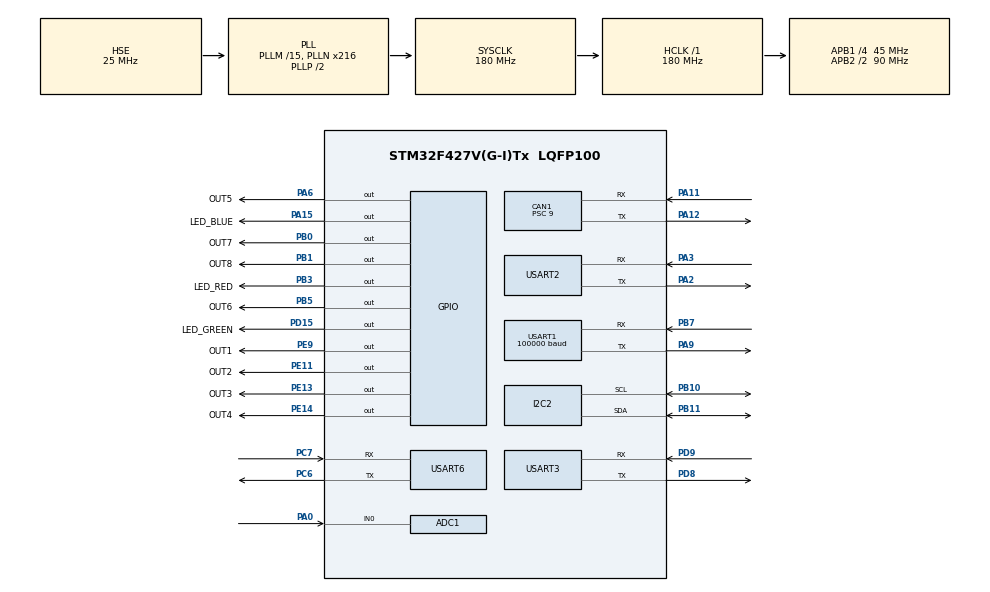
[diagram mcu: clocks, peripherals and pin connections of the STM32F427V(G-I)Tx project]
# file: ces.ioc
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ADC1.Channel-0\#ChannelRegularConversion=ADC_CHANNEL_0
ADC1.ContinuousConvMode=ENABLE
ADC1.DMAContinuousRequests=ENABLE
ADC1.NbrOfConversionFlag=1
ADC1.Rank-0\#ChannelRegularConversion=1
ADC1.SamplingTime-0\#ChannelRegularConversion=ADC_SAMPLETIME_144CYCLES
ADC1.master=1
CAN1.ABOM=ENABLE
CAN1.BS1=CAN_BS1_2TQ
CAN1.BS2=CAN_BS2_2TQ
CAN1.CalculateBaudRate=1000000
CAN1.CalculateTimeBit=1000
CAN1.CalculateTimeQuantum=200.0
CAN1.Prescaler=9
CAN1.TXFP=ENABLE
Dma.ADC1.6.Direction=DMA_PERIPH_TO_MEMORY
Dma.ADC1.6.FIFOMode=DMA_FIFOMODE_DISABLE
Dma.ADC1.6.Instance=DMA2_Stream0
Dma.ADC1.6.MemDataAlignment=DMA_MDATAALIGN_HALFWORD
Dma.ADC1.6.MemInc=DMA_MINC_ENABLE
Dma.ADC1.6.Mode=DMA_CIRCULAR
Dma.ADC1.6.PeriphDataAlignment=DMA_PDATAALIGN_HALFWORD
Dma.ADC1.6.PeriphInc=DMA_PINC_DISABLE
Dma.ADC1.6.Priority=DMA_PRIORITY_MEDIUM
Dma.Request0=USART3_RX
Dma.Request1=USART3_TX
Dma.Request2=USART6_RX
Dma.Request3=USART6_TX
Dma.Request4=USART2_RX
Dma.Request5=USART2_TX
Dma.Request6=ADC1
Dma.Request7=USART1_RX
Dma.USART1_RX.7.Direction=DMA_PERIPH_TO_MEMORY
Dma.USART1_RX.7.FIFOMode=DMA_FIFOMODE_DISABLE
Dma.USART1_RX.7.Instance=DMA2_Stream2
Dma.USART1_RX.7.MemDataAlignment=DMA_MDATAALIGN_BYTE
Dma.USART1_RX.7.MemInc=DMA_MINC_ENABLE
Dma.USART1_RX.7.Mode=DMA_CIRCULAR
Dma.USART1_RX.7.PeriphDataAlignment=DMA_PDATAALIGN_BYTE
Dma.USART1_RX.7.PeriphInc=DMA_PINC_DISABLE
Dma.USART1_RX.7.Priority=DMA_PRIORITY_VERY_HIGH
Dma.USART2_RX.4.Direction=DMA_PERIPH_TO_MEMORY
Dma.USART2_RX.4.FIFOMode=DMA_FIFOMODE_DISABLE
Dma.USART2_RX.4.Instance=DMA1_Stream5
Dma.USART2_RX.4.MemDataAlignment=DMA_MDATAALIGN_BYTE
Dma.USART2_RX.4.MemInc=DMA_MINC_ENABLE
Dma.USART2_RX.4.Mode=DMA_NORMAL
Dma.USART2_RX.4.PeriphDataAlignment=DMA_PDATAALIGN_BYTE
Dma.USART2_RX.4.PeriphInc=DMA_PINC_DISABLE
Dma.USART2_RX.4.Priority=DMA_PRIORITY_HIGH
Dma.USART2_TX.5.Direction=DMA_MEMORY_TO_PERIPH
Dma.USART2_TX.5.FIFOMode=DMA_FIFOMODE_DISABLE
Dma.USART2_TX.5.Instance=DMA1_Stream6
Dma.USART2_TX.5.MemDataAlignment=DMA_MDATAALIGN_BYTE
Dma.USART2_TX.5.MemInc=DMA_MINC_ENABLE
Dma.USART2_TX.5.Mode=DMA_NORMAL
Dma.USART2_TX.5.PeriphDataAlignment=DMA_PDATAALIGN_BYTE
Dma.USART2_TX.5.PeriphInc=DMA_PINC_DISABLE
Dma.USART2_TX.5.Priority=DMA_PRIORITY_HIGH
Dma.USART3_RX.0.Direction=DMA_PERIPH_TO_MEMORY
Dma.USART3_RX.0.FIFOMode=DMA_FIFOMODE_DISABLE
Dma.USART3_RX.0.Instance=DMA1_Stream1
Dma.USART3_RX.0.MemDataAlignment=DMA_MDATAALIGN_BYTE
Dma.USART3_RX.0.MemInc=DMA_MINC_ENABLE
Dma.USART3_RX.0.Mode=DMA_NORMAL
Dma.USART3_RX.0.PeriphDataAlignment=DMA_PDATAALIGN_BYTE
Dma.USART3_RX.0.PeriphInc=DMA_PINC_DISABLE
Dma.USART3_RX.0.Priority=DMA_PRIORITY_LOW
Dma.USART3_TX.1.Direction=DMA_MEMORY_TO_PERIPH
Dma.USART3_TX.1.FIFOMode=DMA_FIFOMODE_DISABLE
Dma.USART3_TX.1.Instance=DMA1_Stream3
Dma.USART3_TX.1.MemDataAlignment=DMA_MDATAALIGN_BYTE
Dma.USART3_TX.1.MemInc=DMA_MINC_ENABLE
Dma.USART3_TX.1.Mode=DMA_NORMAL
Dma.USART3_TX.1.PeriphDataAlignment=DMA_PDATAALIGN_BYTE
Dma.USART3_TX.1.PeriphInc=DMA_PINC_DISABLE
Dma.USART3_TX.1.Priority=DMA_PRIORITY_LOW
Dma.USART6_RX.2.Direction=DMA_PERIPH_TO_MEMORY
Dma.USART6_RX.2.FIFOMode=DMA_FIFOMODE_DISABLE
Dma.USART6_RX.2.Instance=DMA2_Stream1
Dma.USART6_RX.2.MemDataAlignment=DMA_MDATAALIGN_BYTE
Dma.USART6_RX.2.MemInc=DMA_MINC_ENABLE
Dma.USART6_RX.2.Mode=DMA_NORMAL
Dma.USART6_RX.2.PeriphDataAlignment=DMA_PDATAALIGN_BYTE
Dma.USART6_RX.2.PeriphInc=DMA_PINC_DISABLE
Dma.USART6_RX.2.Priority=DMA_PRIORITY_LOW
Dma.USART6_TX.3.Direction=DMA_MEMORY_TO_PERIPH
Dma.USART6_TX.3.FIFOMode=DMA_FIFOMODE_DISABLE
Dma.USART6_TX.3.Instance=DMA2_Stream6
Dma.USART6_TX.3.MemDataAlignment=DMA_MDATAALIGN_BYTE
Dma.USART6_TX.3.MemInc=DMA_MINC_ENABLE
Dma.USART6_TX.3.Mode=DMA_NORMAL
Dma.USART6_TX.3.PeriphDataAlignment=DMA_PDATAALIGN_BYTE
Dma.USART6_TX.3.PeriphInc=DMA_PINC_DISABLE
Dma.USART6_TX.3.Priority=DMA_PRIORITY_LOW
FREERTOS.BinarySemaphores01=sbus_data_semaphore,Dynamic,NULL,Available;modbus_data_semaphore,Dynamic,NULL,Available;imu_calibration_done_semaphore,Dynamic,NULL,Available
FREERTOS.Mutexes01=modbus_buffer_mutex,Dynamic,NULL,Depleted;imu_data_mutex,Dynamic,NULL,Depleted;sbus_buffer_mutex,Dynamic,NULL,Available
FREERTOS.Tasks01=defaultTask,24,512,StartDefaultTask,Default,NULL,Dynamic,NULL,NULL;MODBUS,48,1280,Modbus_Data_Parsing,As external,NULL,Dynamic,NULL,NULL;MODBUS_REG_DATA,8,1280,UpdateRegistersTask,As external,NULL,Dynamic,NULL,NULL;IMU_GET_VALUE,16,512,imu_data_task,As external,NULL,Dynamic,NULL,NULL;SBUS_DATA,48,2048,sbus_data_frame,As external,NULL,Dynamic,NULL,NULL;MOTOR_CONTROL,49,2048,motor_task,As external,NULL,Dynamic,NULL,NULL;MOTOE_SPEED,49,2048,task_remote_attr,As external,NULL,Dynamic,NULL,NULL
FREERTOS.configGENERATE_RUN_TIME_STATS=1
FREERTOS.configRECORD_STACK_HIGH_ADDRESS=1
FREERTOS.configTOTAL_HEAP_SIZE=41280
FREERTOS.configUSE_STATS_FORMATTING_FUNCTIONS=1
Mcu.Family=STM32F4
Mcu.Name=STM32F427V(G-I)Tx
Mcu.Package=LQFP100
NVIC.ADC_IRQn=true\:8\:0\:true\:false\:true\:true\:true\:true\:true
NVIC.CAN1_RX0_IRQn=true\:5\:0\:false\:false\:true\:true\:true\:true\:true
NVIC.CAN1_RX1_IRQn=true\:5\:0\:false\:false\:true\:true\:true\:true\:true
NVIC.DMA1_Stream1_IRQn=true\:5\:0\:false\:false\:true\:true\:false\:true\:true
NVIC.DMA1_Stream3_IRQn=true\:5\:0\:false\:false\:true\:true\:false\:true\:true
NVIC.DMA1_Stream5_IRQn=true\:5\:0\:false\:false\:true\:true\:false\:true\:true
NVIC.DMA1_Stream6_IRQn=true\:5\:0\:false\:false\:true\:true\:false\:true\:true
NVIC.DMA2_Stream0_IRQn=true\:6\:0\:true\:false\:true\:true\:false\:true\:true
NVIC.DMA2_Stream1_IRQn=true\:5\:0\:false\:false\:true\:true\:false\:true\:true
NVIC.DMA2_Stream2_IRQn=true\:5\:0\:false\:false\:true\:true\:false\:true\:true
NVIC.DMA2_Stream6_IRQn=true\:5\:0\:false\:false\:true\:true\:false\:true\:true
NVIC.PriorityGroup=NVIC_PRIORITYGROUP_4
NVIC.TIM7_IRQn=true\:15\:0\:false\:false\:true\:false\:false\:true\:true
NVIC.TimeBase=TIM7_IRQn
NVIC.TimeBaseIP=TIM7
NVIC.USART1_IRQn=true\:5\:0\:false\:false\:true\:true\:true\:true\:true
NVIC.USART2_IRQn=true\:5\:0\:false\:false\:true\:true\:true\:true\:true
NVIC.USART3_IRQn=true\:5\:0\:false\:false\:true\:true\:true\:true\:true
NVIC.USART6_IRQn=true\:6\:0\:true\:false\:true\:true\:true\:true\:true
PA0/WKUP.Signal=ADCx_IN0
PA11.Mode=CAN_Activate
PA11.Signal=CAN1_RX
PA12.Mode=CAN_Activate
PA12.Signal=CAN1_TX
PA13.Mode=Serial_Wire
PA13.Signal=SYS_JTMS-SWDIO
PA14.Mode=Serial_Wire
PA14.Signal=SYS_JTCK-SWCLK
PA15.GPIO_Label=LED_BLUE
PA15.GPIO_ModeDefaultOutputPP=GPIO_MODE_OUTPUT_PP
PA15.GPIO_PuPd=GPIO_PULLDOWN
PA15.GPIO_Speed=GPIO_SPEED_FREQ_HIGH
PA15.PinState=GPIO_PIN_RESET
PA15.Signal=GPIO_Output
PA2.GPIO_ModeDefaultPP=GPIO_MODE_AF_PP
PA2.GPIO_PuPd=GPIO_NOPULL
PA2.GPIO_Speed=GPIO_SPEED_FREQ_VERY_HIGH
PA2.Mode=Asynchronous
PA2.Signal=USART2_TX
PA3.GPIO_ModeDefaultPP=GPIO_MODE_AF_PP
PA3.GPIO_PuPd=GPIO_NOPULL
PA3.GPIO_Speed=GPIO_SPEED_FREQ_VERY_HIGH
PA3.Mode=Asynchronous
PA3.Signal=USART2_RX
PA6.GPIO_Label=OUT5
PA6.GPIO_ModeDefaultOutputPP=GPIO_MODE_OUTPUT_PP
PA6.GPIO_PuPd=GPIO_PULLDOWN
PA6.GPIO_Speed=GPIO_SPEED_FREQ_HIGH
PA6.PinState=GPIO_PIN_RESET
PA6.Signal=GPIO_Output
PA9.Mode=Asynchronous
PA9.Signal=USART1_TX
PB0.GPIO_Label=OUT7
PB0.GPIO_ModeDefaultOutputPP=GPIO_MODE_OUTPUT_PP
PB0.GPIO_PuPd=GPIO_PULLDOWN
PB0.GPIO_Speed=GPIO_SPEED_FREQ_HIGH
PB0.PinState=GPIO_PIN_RESET
PB0.Signal=GPIO_Output
PB1.GPIO_Label=OUT8
PB1.GPIO_ModeDefaultOutputPP=GPIO_MODE_OUTPUT_PP
PB1.GPIO_PuPd=GPIO_PULLDOWN
PB1.GPIO_Speed=GPIO_SPEED_FREQ_HIGH
PB1.PinState=GPIO_PIN_RESET
PB1.Signal=GPIO_Output
PB10.Mode=I2C
PB10.Signal=I2C2_SCL
PB11.Mode=I2C
PB11.Signal=I2C2_SDA
PB3.GPIO_Label=LED_RED
PB3.GPIO_ModeDefaultOutputPP=GPIO_MODE_OUTPUT_PP
PB3.GPIO_PuPd=GPIO_PULLDOWN
PB3.GPIO_Speed=GPIO_SPEED_FREQ_HIGH
PB3.PinState=GPIO_PIN_RESET
PB3.Signal=GPIO_Output
PB5.GPIO_Label=OUT6
PB5.GPIO_ModeDefaultOutputPP=GPIO_MODE_OUTPUT_PP
PB5.GPIO_PuPd=GPIO_PULLDOWN
PB5.GPIO_Speed=GPIO_SPEED_FREQ_HIGH
PB5.PinState=GPIO_PIN_RESET
PB5.Signal=GPIO_Output
PB7.GPIO_ModeDefaultPP=GPIO_MODE_AF_PP
PB7.GPIO_PuPd=GPIO_NOPULL
PB7.GPIO_Speed=GPIO_SPEED_FREQ_VERY_HIGH
PB7.Mode=Asynchronous
PB7.Signal=USART1_RX
PC6.GPIO_ModeDefaultPP=GPIO_MODE_AF_PP
PC6.GPIO_PuPd=GPIO_NOPULL
PC6.GPIO_Speed=GPIO_SPEED_FREQ_VERY_HIGH
PC6.Mode=Asynchronous
PC6.Signal=USART6_TX
PC7.GPIO_ModeDefaultPP=GPIO_MODE_AF_PP
PC7.GPIO_PuPd=GPIO_NOPULL
PC7.GPIO_Speed=GPIO_SPEED_FREQ_VERY_HIGH
PC7.Mode=Asynchronous
PC7.Signal=USART6_RX
PD15.GPIO_Label=LED_GREEN
PD15.GPIO_ModeDefaultOutputPP=GPIO_MODE_OUTPUT_PP
PD15.GPIO_PuPd=GPIO_PULLDOWN
PD15.GPIO_Speed=GPIO_SPEED_FREQ_HIGH
PD15.PinState=GPIO_PIN_RESET
PD15.Signal=GPIO_Output
PD8.GPIO_ModeDefaultPP=GPIO_MODE_AF_PP
PD8.GPIO_PuPd=GPIO_NOPULL
PD8.GPIO_Speed=GPIO_SPEED_FREQ_VERY_HIGH
PD8.Mode=Asynchronous
PD8.Signal=USART3_TX
PD9.GPIO_ModeDefaultPP=GPIO_MODE_AF_PP
PD9.GPIO_PuPd=GPIO_NOPULL
PD9.GPIO_Speed=GPIO_SPEED_FREQ_VERY_HIGH
PD9.Mode=Asynchronous
PD9.Signal=USART3_RX
PE11.GPIO_Label=OUT2
PE11.GPIO_ModeDefaultOutputPP=GPIO_MODE_OUTPUT_PP
PE11.GPIO_PuPd=GPIO_PULLDOWN
PE11.GPIO_Speed=GPIO_SPEED_FREQ_HIGH
PE11.PinState=GPIO_PIN_RESET
PE11.Signal=GPIO_Output
PE13.GPIO_Label=OUT3
PE13.GPIO_ModeDefaultOutputPP=GPIO_MODE_OUTPUT_PP
PE13.GPIO_PuPd=GPIO_PULLDOWN
PE13.GPIO_Speed=GPIO_SPEED_FREQ_HIGH
PE13.PinState=GPIO_PIN_RESET
PE13.Signal=GPIO_Output
PE14.GPIO_Label=OUT4
PE14.GPIO_ModeDefaultOutputPP=GPIO_MODE_OUTPUT_PP
PE14.GPIO_PuPd=GPIO_PULLDOWN
PE14.GPIO_Speed=GPIO_SPEED_FREQ_HIGH
PE14.PinState=GPIO_PIN_RESET
PE14.Signal=GPIO_Output
PE9.GPIO_Label=OUT1
PE9.GPIO_ModeDefaultOutputPP=GPIO_MODE_OUTPUT_PP
PE9.GPIO_PuPd=GPIO_PULLDOWN
PE9.GPIO_Speed=GPIO_SPEED_FREQ_HIGH
PE9.PinState=GPIO_PIN_RESET
PE9.Signal=GPIO_Output
PH0/OSC_IN.Mode=HSE-External-Oscillator
PH0/OSC_IN.Signal=RCC_OSC_IN
PH1/OSC_OUT.Mode=HSE-External-Oscillator
PH1/OSC_OUT.Signal=RCC_OSC_OUT
ProjectManager.HeapSize=0x2000
ProjectManager.StackSize=0x4000
ProjectManager.TargetToolchain=CMake
RCC.48MHZClocksFreq_Value=90000000
RCC.AHBFreq_Value=180000000
RCC.APB1CLKDivider=RCC_HCLK_DIV4
RCC.APB1Freq_Value=45000000
RCC.APB1TimFreq_Value=90000000
RCC.APB2CLKDivider=RCC_HCLK_DIV2
RCC.APB2Freq_Value=90000000
RCC.APB2TimFreq_Value=180000000
RCC.CortexFreq_Value=180000000
RCC.HCLKFreq_Value=180000000
RCC.HSE_VALUE=25000000
RCC.HSI_VALUE=16000000
RCC.LSE_VALUE=32768
RCC.PLLM=15
RCC.PLLN=216
RCC.PLLSourceVirtual=RCC_PLLSOURCE_HSE
RCC.SYSCLKFreq_VALUE=180000000
RCC.SYSCLKSource=RCC_SYSCLKSOURCE_PLLCLK
RCC.VCOOutputFreq_Value=360000000
SH.ADCx_IN0.0=ADC1_IN0,IN0
USART1.BaudRate=100000
USART1.Mode=MODE_RX
USART1.Parity=PARITY_EVEN
USART1.StopBits=STOPBITS_2
USART1.VirtualMode=VM_ASYNC
USART1.WordLength=WORDLENGTH_9B
USART2.VirtualMode=VM_ASYNC
USART3.VirtualMode=VM_ASYNC
USART6.VirtualMode=VM_ASYNC
VP_FREERTOS_VS_CMSIS_V2.Mode=CMSIS_V2
VP_SYS_VS_tim7.Mode=TIM7
board=custom

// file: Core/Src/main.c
/* USER CODE BEGIN Header */
/**
  ******************************************************************************
  * @file           : main.c
  * @brief          : Main program body
  ******************************************************************************
  * @attention
  *
  * Copyright (c) 2025 STMicroelectronics.
  * All rights reserved.
  *
  * This software is licensed under terms that can be found in the LICENSE file
  * in the root directory of this software component.
  * If no LICENSE file comes with this software, it is provided AS-IS.
  *
  ******************************************************************************
  */
/* USER CODE END Header */
#include "main.h"
#include "cmsis_os.h"
#include "adc.h"
#include "can.h"
#include "dma.h"
#include "i2c.h"
#include "usart.h"
#include "gpio.h"

/* USER CODE BEGIN Includes */
#include <stdio.h> //标准输入输出库
#include <string.h> //字符串处理库
#include <elog.h>
#include "uart_callback.h"
/* USER CODE END Includes */

void SystemClock_Config(void);
void MX_FREERTOS_Init(void);

int main(void)
{

  /* MCU Configuration--------------------------------------------------------*/

  /* Reset of all peripherals, Initializes the Flash interface and the Systick. */
  HAL_Init();

  /* Configure the system clock */
  SystemClock_Config();

  /* Initialize all configured peripherals */
  MX_GPIO_Init();
  MX_DMA_Init();
  MX_ADC1_Init();
  MX_I2C2_Init();
  MX_USART1_UART_Init();
  MX_USART2_UART_Init();
  MX_USART3_UART_Init();
  MX_USART6_UART_Init();
  MX_CAN1_Init();

  /* Init scheduler */
  osKernelInitialize();

  /* Call init function for freertos objects (in cmsis_os2.c) */
  MX_FREERTOS_Init();

  /* Start scheduler */
  osKernelStart();

  /* We should never get here as control is now taken by the scheduler */

  /* Infinite loop */
    while (1) {

    }
}

void SystemClock_Config(void)
{
  RCC_OscInitTypeDef RCC_OscInitStruct = {0};
  RCC_ClkInitTypeDef RCC_ClkInitStruct = {0};

  /** Configure the main internal regulator output voltage
  */
  __HAL_RCC_PWR_CLK_ENABLE();
  __HAL_PWR_VOLTAGESCALING_CONFIG(PWR_REGULATOR_VOLTAGE_SCALE1);

  /** Initializes the RCC Oscillators according to the specified parameters
  * in the RCC_OscInitTypeDef structure.
  */
  RCC_OscInitStruct.OscillatorType = RCC_OSCILLATORTYPE_HSE;
  RCC_OscInitStruct.HSEState = RCC_HSE_ON;
  RCC_OscInitStruct.PLL.PLLState = RCC_PLL_ON;
  RCC_OscInitStruct.PLL.PLLSource = RCC_PLLSOURCE_HSE;
  RCC_OscInitStruct.PLL.PLLM = 15;
  RCC_OscInitStruct.PLL.PLLN = 216;
  RCC_OscInitStruct.PLL.PLLP = RCC_PLLP_DIV2;
  RCC_OscInitStruct.PLL.PLLQ = 4;
  if (HAL_RCC_OscConfig(&RCC_OscInitStruct) != HAL_OK)
  {
    Error_Handler();
  }

  /** Activate the Over-Drive mode
  */
  if (HAL_PWREx_EnableOverDrive() != HAL_OK)
  {
    Error_Handler();
  }

  /** Initializes the CPU, AHB and APB buses clocks
  */
  RCC_ClkInitStruct.ClockType = RCC_CLOCKTYPE_HCLK|RCC_CLOCKTYPE_SYSCLK
                              |RCC_CLOCKTYPE_PCLK1|RCC_CLOCKTYPE_PCLK2;
  RCC_ClkInitStruct.SYSCLKSource = RCC_SYSCLKSOURCE_PLLCLK;
  RCC_ClkInitStruct.AHBCLKDivider = RCC_SYSCLK_DIV1;
  RCC_ClkInitStruct.APB1CLKDivider = RCC_HCLK_DIV4;
  RCC_ClkInitStruct.APB2CLKDivider = RCC_HCLK_DIV2;

  if (HAL_RCC_ClockConfig(&RCC_ClkInitStruct, FLASH_LATENCY_5) != HAL_OK)
  {
    Error_Handler();
  }
}

void HAL_TIM_PeriodElapsedCallback(TIM_HandleTypeDef *htim)
{
  if (htim->Instance == TIM7) {
    HAL_IncTick();
  }
}

void Error_Handler(void)
{
    __disable_irq();
    while (1) {
    }
}

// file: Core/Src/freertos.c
/* USER CODE BEGIN Header */
/**
  ******************************************************************************
  * File Name          : freertos.c
  * Description        : Code for freertos applications
  ******************************************************************************
  * @attention
  *
  * Copyright (c) 2025 STMicroelectronics.
  * All rights reserved.
  *
  * This software is licensed under terms that can be found in the LICENSE file
  * in the root directory of this software component.
  * If no LICENSE file comes with this software, it is provided AS-IS.
  *
  ******************************************************************************
  */
/* USER CODE END Header */

#include "FreeRTOS.h"
#include "task.h"
#include "main.h"
#include "cmsis_os.h"

/* USER CODE BEGIN Includes */
#include "Peripheral_Management.h"  //外设管理
#include "updata_registers_value.h"
#include "system_voltage.h"
#include "qmi8658a.h"
#include "sbus.h"
#include "motor_control.h"
#include "motor_target_speed.h"

/* USER CODE END Includes */

/* Definitions for defaultTask */
osThreadId_t defaultTaskHandle;
const osThreadAttr_t defaultTask_attributes = {
  .name = "defaultTask",
  .stack_size = 512 * 4,
  .priority = (osPriority_t) osPriorityNormal,
};
/* Definitions for MODBUS */
osThreadId_t MODBUSHandle;
const osThreadAttr_t MODBUS_attributes = {
  .name = "MODBUS",
  .stack_size = 1280 * 4,
  .priority = (osPriority_t) osPriorityRealtime,
};
/* Definitions for MODBUS_REG_DATA */
osThreadId_t MODBUS_REG_DATAHandle;
const osThreadAttr_t MODBUS_REG_DATA_attributes = {
  .name = "MODBUS_REG_DATA",
  .stack_size = 1280 * 4,
  .priority = (osPriority_t) osPriorityLow,
};
/* Definitions for IMU_GET_VALUE */
osThreadId_t IMU_GET_VALUEHandle;
const osThreadAttr_t IMU_GET_VALUE_attributes = {
  .name = "IMU_GET_VALUE",
  .stack_size = 512 * 4,
  .priority = (osPriority_t) osPriorityBelowNormal,
};
/* Definitions for SBUS_DATA */
osThreadId_t SBUS_DATAHandle;
const osThreadAttr_t SBUS_DATA_attributes = {
  .name = "SBUS_DATA",
  .stack_size = 2048 * 4,
  .priority = (osPriority_t) osPriorityRealtime,
};
/* Definitions for MOTOR_CONTROL */
osThreadId_t MOTOR_CONTROLHandle;
const osThreadAttr_t MOTOR_CONTROL_attributes = {
  .name = "MOTOR_CONTROL",
  .stack_size = 2048 * 4,
  .priority = (osPriority_t) osPriorityRealtime1,
};
/* Definitions for MOTOE_SPEED */
osThreadId_t MOTOE_SPEEDHandle;
const osThreadAttr_t MOTOE_SPEED_attributes = {
  .name = "MOTOE_SPEED",
  .stack_size = 2048 * 4,
  .priority = (osPriority_t) osPriorityRealtime1,
};
/* Definitions for modbus_buffer_mutex */
osMutexId_t modbus_buffer_mutexHandle;
const osMutexAttr_t modbus_buffer_mutex_attributes = {
  .name = "modbus_buffer_mutex"
};
/* Definitions for imu_data_mutex */
osMutexId_t imu_data_mutexHandle;
const osMutexAttr_t imu_data_mutex_attributes = {
  .name = "imu_data_mutex"
};
/* Definitions for sbus_buffer_mutex */
osMutexId_t sbus_buffer_mutexHandle;
const osMutexAttr_t sbus_buffer_mutex_attributes = {
  .name = "sbus_buffer_mutex"
};
/* Definitions for sbus_data_semaphore */
osSemaphoreId_t sbus_data_semaphoreHandle;
const osSemaphoreAttr_t sbus_data_semaphore_attributes = {
  .name = "sbus_data_semaphore"
};
/* Definitions for modbus_data_semaphore */
osSemaphoreId_t modbus_data_semaphoreHandle;
const osSemaphoreAttr_t modbus_data_semaphore_attributes = {
  .name = "modbus_data_semaphore"
};
/* Definitions for imu_calibration_done_semaphore */
osSemaphoreId_t imu_calibration_done_semaphoreHandle;
const osSemaphoreAttr_t imu_calibration_done_semaphore_attributes = {
  .name = "imu_calibration_done_semaphore"
};

void StartDefaultTask(void *argument);
extern void Modbus_Data_Parsing(void *argument);
extern void UpdateRegistersTask(void *argument);
extern void imu_data_task(void *argument);
extern void sbus_data_frame(void *argument);
extern void motor_task(void *argument);
extern void task_remote_attr(void *argument);

void MX_FREERTOS_Init(void); /* (MISRA C 2004 rule 8.1) */

/* Hook prototypes */
void configureTimerForRunTimeStats(void);
unsigned long getRunTimeCounterValue(void);

/* USER CODE BEGIN 1 */
/* Functions needed when configGENERATE_RUN_TIME_STATS is on */
__weak void configureTimerForRunTimeStats(void)
{

}

__weak unsigned long getRunTimeCounterValue(void)
{
return 0;
}
/* USER CODE END 1 */

void MX_FREERTOS_Init(void) {
  /* Create the mutex(es) */
  /* creation of modbus_buffer_mutex */
  modbus_buffer_mutexHandle = osMutexNew(&modbus_buffer_mutex_attributes);

  /* creation of imu_data_mutex */
  imu_data_mutexHandle = osMutexNew(&imu_data_mutex_attributes);

  /* creation of sbus_buffer_mutex */
  sbus_buffer_mutexHandle = osMutexNew(&sbus_buffer_mutex_attributes);

  /* Create the semaphores(s) */
  /* creation of sbus_data_semaphore */
  sbus_data_semaphoreHandle = osSemaphoreNew(1, 1, &sbus_data_semaphore_attributes);

  /* creation of modbus_data_semaphore */
  modbus_data_semaphoreHandle = osSemaphoreNew(1, 1, &modbus_data_semaphore_attributes);

  /* creation of imu_calibration_done_semaphore */
  imu_calibration_done_semaphoreHandle = osSemaphoreNew(1, 1, &imu_calibration_done_semaphore_attributes);

  /* Create the thread(s) */
  /* creation of defaultTask */
  defaultTaskHandle = osThreadNew(StartDefaultTask, NULL, &defaultTask_attributes);

  /* creation of MODBUS */
  MODBUSHandle = osThreadNew(Modbus_Data_Parsing, NULL, &MODBUS_attributes);

  /* creation of MODBUS_REG_DATA */
  MODBUS_REG_DATAHandle = osThreadNew(UpdateRegistersTask, NULL, &MODBUS_REG_DATA_attributes);

  /* creation of IMU_GET_VALUE */
  IMU_GET_VALUEHandle = osThreadNew(imu_data_task, NULL, &IMU_GET_VALUE_attributes);

  /* creation of SBUS_DATA */
  SBUS_DATAHandle = osThreadNew(sbus_data_frame, NULL, &SBUS_DATA_attributes);

  /* creation of MOTOR_CONTROL */
  MOTOR_CONTROLHandle = osThreadNew(motor_task, NULL, &MOTOR_CONTROL_attributes);

  /* creation of MOTOE_SPEED */
  MOTOE_SPEEDHandle = osThreadNew(task_remote_attr, NULL, &MOTOE_SPEED_attributes);

}

void StartDefaultTask(void *argument)
{
  /* USER CODE BEGIN StartDefaultTask */
  (void) argument;  //  Suppress unused argument warning
  Peripheral_Management_Init();

  /* Infinite loop */
  for(;;)
  {
    HAL_GPIO_TogglePin(LED_BLUE_GPIO_Port,  LED_BLUE_Pin);
    elog_info("心跳","Working...");
    elog_info("电压","系统电压: %.3f V",adc_v.v_in);

    osDelay(4676);
  }
  /* USER CODE END StartDefaultTask */
}
